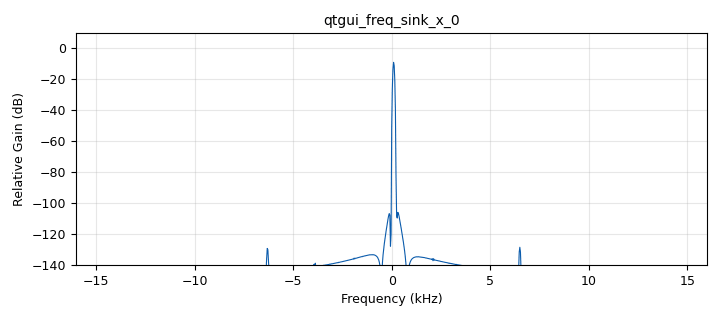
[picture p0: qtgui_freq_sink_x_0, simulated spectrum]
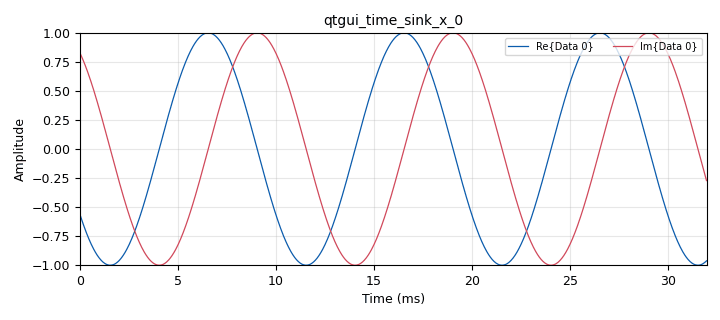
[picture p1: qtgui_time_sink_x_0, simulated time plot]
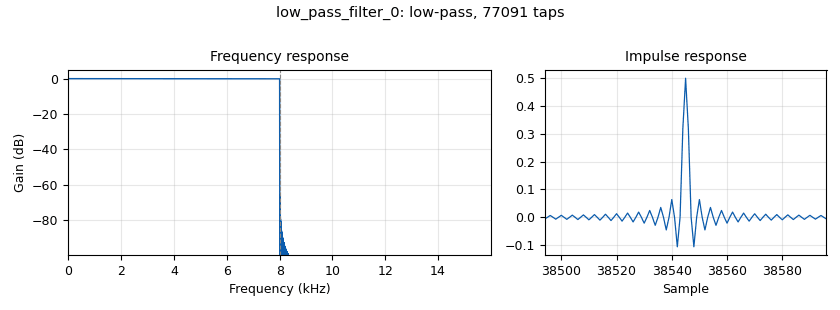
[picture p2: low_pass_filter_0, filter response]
<?xml version='1.0' encoding='utf-8'?>
<?grc format='1' created='3.7.14'?>
<flow_graph>
<block>
<key>options</key>
<param><key>id</key><value>top_block</value></param>
<param><key>generate_options</key><value>qt_gui</value></param>
</block>
<block>
<key>variable_qtgui_range</key>
<param><key>id</key><value>Amplitude</value></param>
<param><key>value</key><value>1</value></param>
<param><key>gui_hint</key><value>4,0,1,4</value></param>
<param><key>orient</key><value>Qt.Horizontal</value></param>
<param><key>start</key><value>0</value></param>
<param><key>step</key><value>0.1</value></param>
<param><key>stop</key><value>1e3</value></param>
</block>
<block>
<key>variable_qtgui_range</key>
<param><key>id</key><value>Frequancy</value></param>
<param><key>value</key><value>100</value></param>
<param><key>gui_hint</key><value>3,0,1,4</value></param>
<param><key>orient</key><value>Qt.Horizontal</value></param>
<param><key>start</key><value>0</value></param>
<param><key>step</key><value>0.1</value></param>
<param><key>stop</key><value>16e3</value></param>
</block>
<block>
<key>variable_qtgui_range</key>
<param><key>id</key><value>Noise_R</value></param>
<param><key>value</key><value>0</value></param>
<param><key>gui_hint</key><value>2,0,1,4</value></param>
<param><key>orient</key><value>Qt.Horizontal</value></param>
<param><key>start</key><value>0</value></param>
<param><key>step</key><value>0.01</value></param>
<param><key>stop</key><value>3</value></param>
</block>
<block>
<key>variable</key>
<param><key>id</key><value>samp_rate</value></param>
<param><key>value</key><value>32000</value></param>
</block>
<block>
<key>analog_noise_source_x</key>
<param><key>id</key><value>analog_noise_source_x_0</value></param>
<param><key>amp</key><value>Noise_R</value></param>
<param><key>noise_type</key><value>analog.GR_GAUSSIAN</value></param>
<param><key>type</key><value>complex</value></param>
<param><key>seed</key><value>0</value></param>
</block>
<block>
<key>analog_sig_source_x</key>
<param><key>id</key><value>analog_sig_source_x_0</value></param>
<param><key>amp</key><value>Amplitude</value></param>
<param><key>freq</key><value>Frequancy</value></param>
<param><key>offset</key><value>0</value></param>
<param><key>type</key><value>complex</value></param>
<param><key>samp_rate</key><value>samp_rate</value></param>
<param><key>waveform</key><value>analog.GR_COS_WAVE</value></param>
</block>
<block>
<key>blocks_add_xx</key>
<param><key>id</key><value>blocks_add_xx_0</value></param>
<param><key>type</key><value>complex</value></param>
</block>
<block>
<key>low_pass_filter</key>
<param><key>id</key><value>low_pass_filter_0</value></param>
<param><key>cutoff_freq</key><value>8e3</value></param>
<param><key>decim</key><value>1</value></param>
<param><key>type</key><value>fir_filter_ccf</value></param>
<param><key>gain</key><value>1</value></param>
<param><key>samp_rate</key><value>samp_rate</value></param>
<param><key>width</key><value>1</value></param>
<param><key>win</key><value>firdes.WIN_HAMMING</value></param>
</block>
<block>
<key>qtgui_freq_sink_x</key>
<param><key>id</key><value>qtgui_freq_sink_x_0</value></param>
<param><key>average</key><value>0.05</value></param>
<param><key>bw</key><value>samp_rate</value></param>
<param><key>fc</key><value>0</value></param>
<param><key>fftsize</key><value>1024</value></param>
<param><key>gui_hint</key><value>0,2,2,2</value></param>
<param><key>showports</key><value>True</value></param>
<param><key>type</key><value>complex</value></param>
<param><key>wintype</key><value>firdes.WIN_BLACKMAN_hARRIS</value></param>
</block>
<block>
<key>qtgui_time_sink_x</key>
<param><key>id</key><value>qtgui_time_sink_x_0</value></param>
<param><key>gui_hint</key><value>0,0,2,2</value></param>
<param><key>color1</key><value>"blue"</value></param>
<param><key>label1</key><value></value></param>
<param><key>color2</key><value>"red"</value></param>
<param><key>label2</key><value></value></param>
<param><key>size</key><value>1024</value></param>
<param><key>srate</key><value>samp_rate</value></param>
<param><key>type</key><value>complex</value></param>
</block>
<connection><source_block_id>analog_noise_source_x_0</source_block_id><sink_block_id>blocks_add_xx_0</sink_block_id><source_key>0</source_key><sink_key>1</sink_key></connection>
<connection><source_block_id>analog_sig_source_x_0</source_block_id><sink_block_id>blocks_add_xx_0</sink_block_id><source_key>0</source_key><sink_key>0</sink_key></connection>
<connection><source_block_id>blocks_add_xx_0</source_block_id><sink_block_id>low_pass_filter_0</sink_block_id><source_key>0</source_key><sink_key>0</sink_key></connection>
<connection><source_block_id>low_pass_filter_0</source_block_id><sink_block_id>qtgui_freq_sink_x_0</sink_block_id><source_key>0</source_key><sink_key>0</sink_key></connection>
<connection><source_block_id>low_pass_filter_0</source_block_id><sink_block_id>qtgui_time_sink_x_0</sink_block_id><source_key>0</source_key><sink_key>0</sink_key></connection>
</flow_graph>
